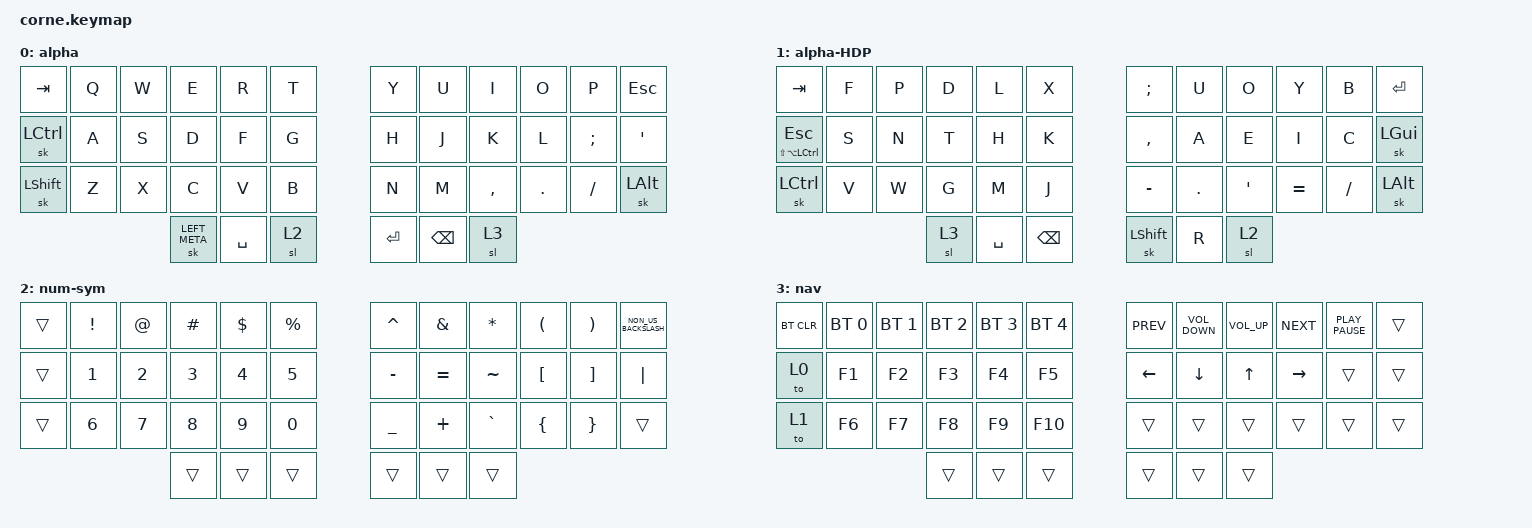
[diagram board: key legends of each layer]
/*
 * Copyright (c) 2020 The ZMK Contributors
 *
 * SPDX-License-Identifier: MIT
 */

#include <behaviors.dtsi>
#include <dt-bindings/zmk/bt.h>
#include <dt-bindings/zmk/keys.h>

/ {
    behaviors {
        ht: hold_tap {
            compatible = "zmk,behavior-hold-tap";
            #binding-cells = <2>;
            tapping-term-ms = <200>;    // slightly increased for more reliable shifts
            require-prior-idle-ms = <100>; // helps with rapid key sequences
            flavor = "tap-preferred";
            bindings = <&kp>, <&kp>;
        };

        shift_capsword: shift_capsword {
            compatible = "zmk,behavior-tap-dance";
            label = "SHIFT_CAPSWORD";
            #binding-cells = <0>;
            bindings = <&sk LEFT_SHIFT>, <&caps_word>;
        };

        lt_backspace: lt_backspace {
            compatible = "zmk,behavior-tap-dance";
            label = "LT_BACKSPACE";
            #binding-cells = <0>;
            bindings = <&lt 2 BACKSPACE>, <&kp LA(BACKSPACE)>;
        };

        Qu_hold_tap: Qu_hold_tap {
            compatible = "zmk,behavior-hold-tap";
            label = "QU_HOLD_TAP";
            bindings = <&kp>, <&qu_string>;

            #binding-cells = <2>;
            tapping-term-ms = <200>;
        };
    };

    macros {
        backout: backout {
            compatible = "zmk,behavior-macro";
            #binding-cells = <0>;
            bindings =
                <&macro_tap>,
                <&kp DOT>,
                <&macro_tap>,
                <&kp DOT>,
                <&macro_tap>,
                <&kp SLASH>;
        };

        tmux_leader: tmux_leader {
            compatible = "zmk,behavior-macro";
            #binding-cells = <0>;
            bindings = <&kp LC(SPACE)>;
            label = "TMUX_LEADER";
        };

        qu_string: qu_combo {
            compatible = "zmk,behavior-macro";
            #binding-cells = <0>;
            bindings = <&kp Q &kp U>;
            label = "QU_COMBO";
        };
    };

    conditional_layers { compatible = "zmk,conditional-layers"; };

    combos {
        compatible = "zmk,combos";

        bootloader {
            bindings = <&bootloader>;
            key-positions = <0 12 24 11 23 35>;
        };

        Qu-combo {
            bindings = <&Qu_hold_tap Q 0>;
            key-positions = <7 9>;
            layers = <1>;
        };

        z-combo {
            bindings = <&kp Z>;
            key-positions = <25 26>;
            layers = <1>;
        };
    };

    keymap {
        compatible = "zmk,keymap";

        alpha {
            // -----------------------------------------------------------------------------------------
            // |  TAB |  F  |  P  |  D   |  L  |  X  |   |  ;  |   U   |  O  |  Y  |  B  |  Z   |
            // | CTRL |  S  |  N  |  T   |  H  |  K  |   |  ,  |   A   |  E  |  I  |  C  |  Q   |
            // | \    |  V  |  W  |  G   |  M  |  J  |   |  -  |   .   |  '  |  =  |  /  | ESC  |
            //                    | BSPC |  R  | RET |   | ESC | SPACE | TAB |

            bindings = <
&kp TAB         &kp Q  &kp W  &kp E          &kp R      &kp T    &kp Y      &kp U          &kp I      &kp O       &kp P          &kp ESC
&sk LCTRL       &kp A  &kp S  &kp D          &kp F      &kp G    &kp H      &kp J          &kp K      &kp L       &kp SEMICOLON  &kp SQT
&sk LEFT_SHIFT  &kp Z  &kp X  &kp C          &kp V      &kp B    &kp N      &kp M          &kp COMMA  &kp PERIOD  &kp SLASH      &sk LEFT_ALT
                              &sk LEFT_META  &kp SPACE  &sl 2    &kp ENTER  &kp BACKSPACE  &sl 3
            >;
        };

        alpha-HDP {
            bindings = <
&kp TAB                   &kp F  &kp P  &kp D  &kp L      &kp X            &kp SEMICOLON   &kp U       &kp O    &kp Y      &kp B      &kp ENTER
&mt LS(LA(LCTRL)) ESCAPE  &kp S  &kp N  &kp T  &kp H      &kp K            &kp COMMA       &kp A       &kp E    &kp I      &kp C      &sk LEFT_GUI
&sk LCTRL                 &kp V  &kp W  &kp G  &kp M      &kp J            &kp MINUS       &kp PERIOD  &kp SQT  &kp EQUAL  &kp SLASH  &sk LEFT_ALT
                                        &sl 3  &kp SPACE  &kp BACKSPACE    &sk LEFT_SHIFT  &kp R       &sl 2
            >;
        };

        num-sym {
            // -----------------------------------------------------------------------------------------
            // |  TAB |  %  |  [  |  ]  |  $  |  &  |   |  .  |  "  |  <  |  >  |  '  | BSPC |
            // | CTRL |  ?  |  (  |  )  |  :  |  |  |   |  #  |  =  |  +  |  -  |  !  | CTRL |
            // | SHFT |  @  |  {  |  }  |  ~  |     |   | ../ |  \  |  *  |  /  |  ^  | SHFT |
            //                    |BSPC |     | RET |   | ESC |     | TAB |

            bindings = <
&trans  &kp EXCLAMATION  &kp AT_SIGN  &kp HASH  &kp DOLLAR  &kp PERCENT    &kp CARET       &kp AMPERSAND  &kp ASTERISK  &kp LEFT_PARENTHESIS  &kp RIGHT_PARENTHESIS  &kp NON_US_BACKSLASH
&trans  &kp N1           &kp N2       &kp N3    &kp N4      &kp N5         &kp MINUS       &kp EQUAL      &kp TILDE     &kp LEFT_BRACKET      &kp RIGHT_BRACKET      &kp PIPE
&trans  &kp N6           &kp N7       &kp N8    &kp N9      &kp N0         &kp UNDERSCORE  &kp PLUS       &kp GRAVE     &kp LEFT_BRACE        &kp RIGHT_BRACE        &trans
                                      &trans    &trans      &trans         &trans          &trans         &trans
            >;
        };

        nav {
            // -----------------------------------------------------------------------------------------
            // | TAB  |  +  |  7  |  8  |  9  |  *  |   |     |     |     |     |     | BSPC |
            // | CTRL |  =  |  1  |  2  |  3  |  0  |   | LFT | DWN |  UP | RGT |     |      |
            // | SHFT |  -  |  4  |  5  |  6  |  /  |   |     |     |     |     |     |      |
            //                    |BSPC | SPACE | RET |   | ESC |     | TAB |

            bindings = <
&bt BT_CLR  &bt BT_SEL 0  &bt BT_SEL 1  &bt BT_SEL 2  &bt BT_SEL 3  &bt BT_SEL 4    &kp K_PREV  &kp K_VOLUME_DOWN  &kp K_VOLUME_UP  &kp K_NEXT  &kp K_PLAY_PAUSE  &trans
&to 0       &kp F1        &kp F2        &kp F3        &kp F4        &kp F5          &kp LEFT    &kp DOWN           &kp UP           &kp RIGHT   &trans            &trans
&to 1       &kp F6        &kp F7        &kp F8        &kp F9        &kp F10         &trans      &trans             &trans           &trans      &trans            &trans
                                        &trans        &trans        &trans          &trans      &trans             &trans
            >;
        };
    };
};
